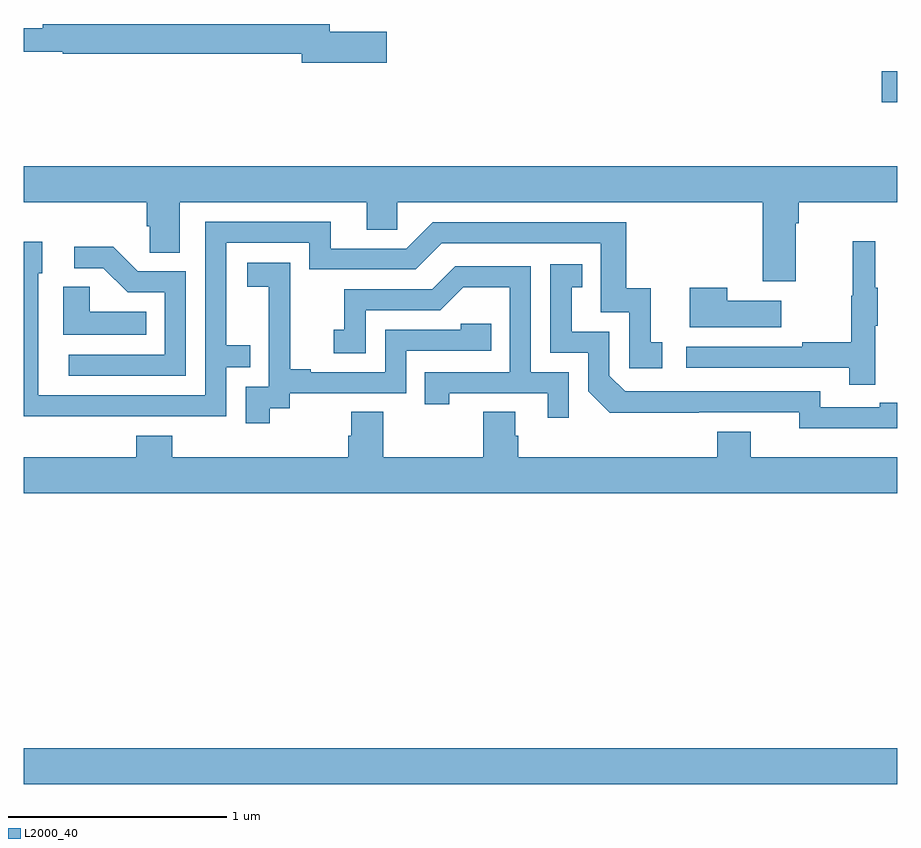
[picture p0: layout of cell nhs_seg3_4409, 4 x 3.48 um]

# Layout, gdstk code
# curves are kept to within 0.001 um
import gdstk
lib = gdstk.Library(unit=1e-6, precision=1e-09)
def R(c, l, rs):  # rectangles x0, y0, x1, y1
    for r in rs: c.add(gdstk.rectangle(r[:2], r[2:], *l))
def P(c, l, *ps):  # polygons
    for p in ps: c.add(gdstk.Polygon(p, *l))
L2000_40 = (2000, 40)

nhs_seg3_4409 = lib.new_cell('nhs_seg3_4409')
R(nhs_seg3_4409, L2000_40, [(345,728.888,349,729.052), (348.93,732.01,349,732.152)])
P(nhs_seg3_4409, L2000_40, [(346.663,732.332),(346.402,732.332),(346.402,732.368),(345.088,732.368),(345.088,732.349),(345,732.349),(345,732.24),(345.178,732.24),(345.178,732.232),(346.274,732.232),(346.274,732.19),(346.663,732.19)],
  [(348.535,731.456),(348.548,731.456),(348.548,731.552),(349,731.552),(349,731.716),(345,731.716),(345,731.552),(345.563,731.552),(345.563,731.443),(345.576,731.443),(345.576,731.32),(345.715,731.32),(345.715,731.552),(346.571,731.552),(346.571,731.425),(346.71,731.425),(346.71,731.552),(348.383,731.552),(348.383,731.19),(348.535,731.19)],
  [(345.431,730.572),(345.927,730.572),(345.927,730.797),(346.037,730.797),(346.037,730.898),(345.927,730.898),(345.927,731.367),(346.308,731.367),(346.308,731.244),(346.794,731.244),(346.914,731.364),(347.643,731.364),(347.643,731.049),(347.772,731.049),(347.772,730.791),(347.923,730.791),(347.923,730.911),(347.87,730.911),(347.87,731.158),(347.759,731.158),(347.759,731.46),(346.872,731.46),(346.752,731.34),(346.405,731.34),(346.405,731.463),(345.831,731.463),(345.831,730.668),(345.066,730.668),(345.066,731.226),(345.085,731.226),(345.085,731.371),(345,731.371),(345,730.571)],
  [(348.899,730.987),(348.91,730.987),(348.91,731.161),(348.899,731.161),(348.899,731.374),(348.796,731.374),(348.796,731.124),(348.789,731.124),(348.789,730.91),(348.565,730.91),(348.565,730.89),(348.033,730.89),(348.033,730.794),(348.781,730.794),(348.781,730.716),(348.899,730.716)],
  [(345.741,731.235),(345.522,731.235),(345.409,731.348),(345.231,731.348),(345.231,731.25),(345.365,731.25),(345.476,731.139),(345.645,731.139),(345.645,730.854),(345.207,730.854),(345.207,730.758),(345.741,730.758)],
  [(346.126,730.609),(346.218,730.609),(346.218,730.677),(346.752,730.677),(346.752,730.872),(347.141,730.872),(347.141,730.995),(347.001,730.995),(347.001,730.968),(346.656,730.968),(346.656,730.773),(346.315,730.773),(346.315,730.786),(346.22,730.786),(346.22,731.069),(346.221,731.069),(346.221,731.275),(346.023,731.275),(346.023,731.165),(346.121,731.165),(346.121,730.937),(346.122,730.937),(346.122,730.707),(346.017,730.707),(346.017,730.539),(346.126,730.539)],
  [(348.92,730.518),(349,730.518),(349,730.634),(348.92,730.634),(348.92,730.614),(348.648,730.614),(348.648,730.686),(347.754,730.686),(347.682,730.758),(347.682,730.959),(347.509,730.959),(347.509,731.163),(347.558,731.163),(347.558,731.269),(347.412,731.269),(347.412,730.863),(347.586,730.863),(347.586,730.686),(347.684,730.589),(348.552,730.59),(348.552,730.517)],
  [(347.496,730.773),(347.322,730.773),(347.322,731.259),(346.976,731.259),(346.871,731.154),(346.468,731.154),(346.468,730.969),(346.419,730.969),(346.419,730.86),(346.566,730.86),(346.566,731.058),(346.908,731.058),(347.012,731.162),(347.226,731.162),(347.226,730.773),(346.837,730.773),(346.837,730.626),(346.948,730.626),(346.948,730.677),(347.399,730.677),(347.399,730.566),(347.496,730.566)],
  [(345.56,731.05),(345.303,731.05),(345.303,731.165),(345.182,731.165),(345.182,730.946),(345.56,730.946)],
  [(348.469,731.101),(348.221,731.101),(348.221,731.161),(348.05,731.161),(348.05,730.979),(348.469,730.979)],
  [(349,730.384),(348.328,730.384),(348.328,730.501),(348.176,730.501),(348.176,730.384),(347.264,730.384),(347.264,730.482),(347.251,730.482),(347.251,730.592),(347.104,730.592),(347.104,730.384),(346.647,730.384),(346.647,730.592),(346.499,730.592),(346.499,730.482),(346.487,730.482),(346.487,730.384),(345.68,730.384),(345.68,730.483),(345.515,730.483),(345.515,730.384),(345,730.384),(345,730.22),(349,730.22)])

lib.write_gds('nhs_seg3_4409.gds')
